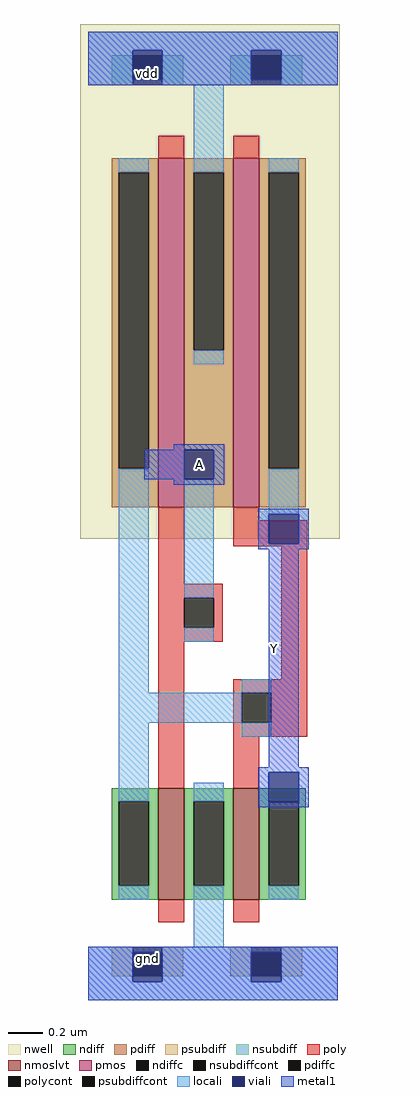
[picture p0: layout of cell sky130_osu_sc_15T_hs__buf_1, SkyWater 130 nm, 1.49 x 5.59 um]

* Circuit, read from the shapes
.subckt sky130_osu_sc_15T_hs__buf_1 A Y
XM1 gnd A n1 gnd sky130_fd_pr__nfet_01v8_lvt w=0.64 l=0.15
XM2 Y n1 gnd gnd sky130_fd_pr__nfet_01v8_lvt w=0.64 l=0.15
XM3 vdd A n1 vdd sky130_fd_pr__pfet_01v8 w=2 l=0.15
XM4 Y n1 vdd vdd sky130_fd_pr__pfet_01v8 w=2 l=0.15
.ends

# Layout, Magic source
magic
tech sky130A
magscale 1 2
<< nwell >>
rect -9 529 288 1119
<< nmoslvt >>
rect 80 115 110 243
rect 166 115 196 243
<< pmos >>
rect 80 565 110 965
rect 166 565 196 965
<< ndiff >>
rect 27 228 80 243
rect 27 131 35 228
rect 69 131 80 228
rect 27 115 80 131
rect 110 228 166 243
rect 110 131 121 228
rect 155 131 166 228
rect 110 115 166 131
rect 196 228 249 243
rect 196 131 207 228
rect 241 131 249 228
rect 196 115 249 131
<< pdiff >>
rect 27 949 80 965
rect 27 609 35 949
rect 69 609 80 949
rect 27 565 80 609
rect 110 949 166 965
rect 110 745 121 949
rect 155 745 166 949
rect 110 565 166 745
rect 196 949 249 965
rect 196 609 207 949
rect 241 609 249 949
rect 196 565 249 609
<< ndiffc >>
rect 35 131 69 228
rect 121 131 155 228
rect 207 131 241 228
<< pdiffc >>
rect 35 609 69 949
rect 121 745 155 949
rect 207 609 241 949
<< psubdiff >>
rect 27 27 51 61
rect 85 27 109 61
rect 163 27 187 61
rect 221 27 245 61
<< nsubdiff >>
rect 27 1049 51 1083
rect 85 1049 109 1083
rect 163 1049 187 1083
rect 221 1049 245 1083
<< psubdiffcont >>
rect 51 27 85 61
rect 187 27 221 61
<< nsubdiffcont >>
rect 51 1049 85 1083
rect 187 1049 221 1083
<< poly >>
rect 80 965 110 991
rect 166 965 196 991
rect 80 477 110 565
rect 166 550 196 565
rect 166 520 251 550
rect 80 461 154 477
rect 80 427 110 461
rect 144 427 154 461
rect 80 411 154 427
rect 80 243 110 411
rect 221 368 251 520
rect 166 352 251 368
rect 166 318 176 352
rect 210 318 251 352
rect 166 302 251 318
rect 166 243 196 302
rect 80 89 110 115
rect 166 89 196 115
<< polycont >>
rect 110 427 144 461
rect 176 318 210 352
<< locali >>
rect 0 1089 286 1110
rect 0 1049 51 1089
rect 85 1049 187 1089
rect 221 1049 286 1089
rect 35 949 69 965
rect 121 949 155 1049
rect 121 729 155 745
rect 207 949 241 965
rect 35 352 69 609
rect 110 461 144 597
rect 207 557 241 609
rect 110 411 144 427
rect 176 352 210 368
rect 35 318 176 352
rect 35 228 69 318
rect 176 302 210 318
rect 35 115 69 131
rect 121 228 155 249
rect 121 61 155 131
rect 207 115 241 131
rect 0 21 51 61
rect 85 21 187 61
rect 221 21 286 61
rect 0 0 286 21
<< viali >>
rect 51 1083 85 1089
rect 51 1055 85 1083
rect 187 1083 221 1089
rect 187 1055 221 1083
rect 110 597 144 631
rect 207 523 241 557
rect 207 228 241 261
rect 207 227 241 228
rect 51 27 85 55
rect 51 21 85 27
rect 187 27 221 55
rect 187 21 221 27
<< metal1 >>
rect 0 1089 286 1110
rect 0 1055 51 1089
rect 85 1055 187 1089
rect 221 1055 286 1089
rect 0 1049 286 1055
rect 98 631 156 637
rect 64 597 110 631
rect 144 597 156 631
rect 98 591 156 597
rect 195 557 253 563
rect 195 523 207 557
rect 241 523 253 557
rect 195 517 253 523
rect 207 267 241 517
rect 195 261 253 267
rect 195 227 207 261
rect 241 227 253 261
rect 195 221 253 227
rect 0 55 286 61
rect 0 21 51 55
rect 85 21 187 55
rect 221 21 286 55
rect 0 0 286 21
<< labels >>
rlabel metal1 213 403 213 403 1 Y
port 2 n
rlabel viali 127 614 127 614 1 A
port 1 n
rlabel viali 68 48 68 48 1 gnd
rlabel viali 68 1062 68 1062 1 vdd
<< end >>
